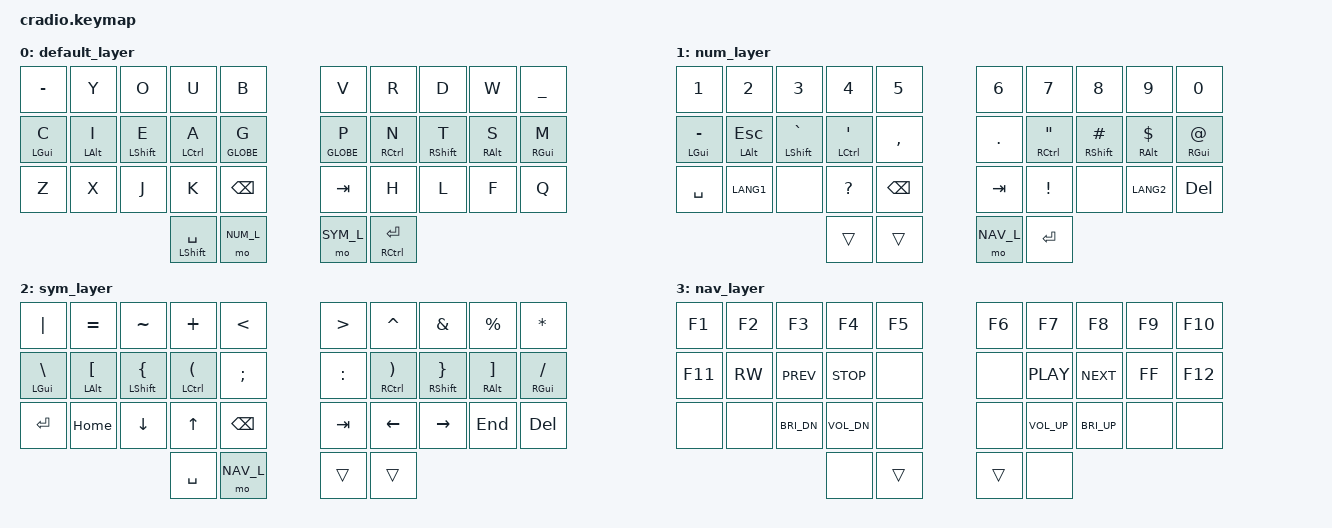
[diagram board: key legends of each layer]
/*
 * Copyright (c) 2020 The ZMK Contributors
 *
 * SPDX-License-Identifier: MIT
 */

#undef ZMK_BEHAVIORS_KEEP_ALL

#include <behaviors.dtsi>
#include <dt-bindings/zmk/keys.h>
#include <dt-bindings/zmk/bt.h>

#define NUM_L 1
#define SYM_L 2
#define NAV_L 3

// Using layer taps on thumbs, having quick tap as well helps w/ repeating space/backspace
&lt { quick-tap-ms = <200>; };

/ {
    combos {
        compatible = "zmk,combos";
        combo_bt0 {
            timeout-ms = <50>;
            key-positions = <0 20>;
            bindings = <&bt BT_SEL 0>;
            layers = <0>;
        };
        combo_bt1 {
            timeout-ms = <50>;
            key-positions = <1 21>;
            bindings = <&bt BT_SEL 1>;
            layers = <0>;
        };
        combo_bt2 {
            timeout-ms = <50>;
            key-positions = <2 22>;
            bindings = <&bt BT_SEL 2>;
            layers = <0>;
        };
        combo_bt3 {
            timeout-ms = <50>;
            key-positions = <3 23>;
            bindings = <&bt BT_SEL 3>;
            layers = <0>;
        };
        combo_btc {
            timeout-ms = <50>;
            key-positions = <4 24>;
            bindings = <&bt BT_CLR>;
            layers = <0>;
        };
    };

    keymap {
        compatible = "zmk,keymap";
        wakeup-source;

        default_layer {
            bindings = <
                &kp MINUS  &kp Y      &kp O       &kp U          &kp B         &kp V            &kp R          &kp D       &kp W      &kp UNDER
                &mt LGUI C &mt LALT I &mt LSHFT E &mt LCTRL A    &mt GLOBE G   &mt GLOBE P      &mt RCTRL N    &mt RSHFT T &mt RALT S &mt RGUI M
                &kp Z      &kp X      &kp J       &kp K          &kp BSPC      &kp TAB          &kp H          &kp L       &kp F      &kp Q
                                                  &mt LSHFT SPACE &mo NUM_L    &mo SYM_L        &mt RCTRL ENTER
            >;
        };

        num_layer {
            bindings = <
                &kp N1     &kp N2     &kp N3      &kp N4          &kp N5        &kp N6          &kp N7         &kp N8      &kp N9     &kp N0
        &mt LGUI MINUS &mt LALT ESC &mt LSHFT GRAVE &mt LCTRL SQT &kp COMMA     &kp PERIOD      &mt RCTRL DQT  &mt RSHFT HASH &mt RALT DOLLAR &mt RGUI AT
                &kp SPACE  &kp LANG1  &none       &kp QMARK       &kp BSPC      &kp TAB         &kp EXCL       &none       &kp LANG2  &kp DEL
                                                  &trans          &trans        &mo NAV_L       &kp ENTER
            >;
        };

        sym_layer {
            bindings = <
                &kp PIPE   &kp EQUAL   &kp TILDE   &kp PLUS       &kp LT        &kp GT          &kp CARET      &kp AMPS    &kp PRCNT  &kp ASTRK
        &mt LGUI BSLH &mt LALT LBKT &mt LSHFT LBRC &mt LCTRL LPAR &kp SEMI      &kp COLON       &mt RCTRL RPAR &mt RSHFT RBRC &mt RALT RBKT &mt RGUI SLASH
                &kp ENTER  &kp HOME    &kp DOWN    &kp UP         &kp BSPC      &kp TAB         &kp LEFT       &kp RIGHT   &kp END    &kp DEL
                                                   &kp SPACE      &mo NAV_L     &trans          &trans
            >;
        };

        nav_layer {
            bindings = <
                &kp F1     &kp F2     &kp F3      &kp F4          &kp F5       &kp F6           &kp F7         &kp F8      &kp F9     &kp F10
                &kp F11    &kp C_RW   &kp C_PREV  &kp C_STOP      &none        &none            &kp C_PLAY     &kp C_NEXT  &kp C_FF   &kp F12
                &none      &none      &kp C_BRI_DN &kp C_VOL_DN   &none        &none            &kp C_VOL_UP   &kp C_BRI_UP &none     &none
                                                  &none           &trans       &trans           &none
            >;
        };

    };
};
